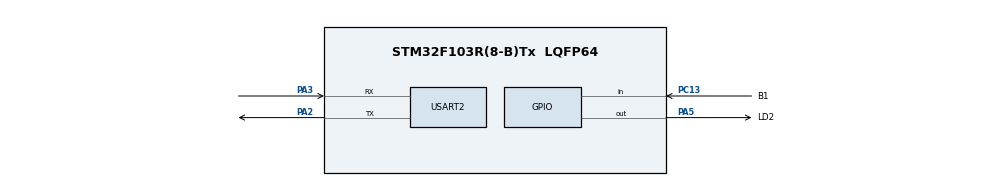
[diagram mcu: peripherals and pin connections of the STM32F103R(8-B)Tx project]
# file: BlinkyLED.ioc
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Mcu.Family=STM32F1
Mcu.Name=STM32F103R(8-B)Tx
Mcu.Package=LQFP64
NVIC.PriorityGroup=NVIC_PRIORITYGROUP_4
PA13.Mode=Trace_Asynchronous_SW
PA13.Signal=SYS_JTMS-SWDIO
PA14.Mode=Trace_Asynchronous_SW
PA14.Signal=SYS_JTCK-SWCLK
PA2.Mode=Asynchronous
PA2.Signal=USART2_TX
PA3.Mode=Asynchronous
PA3.Signal=USART2_RX
PA5.GPIO_Label=LD2
PA5.Signal=GPIO_Output
PB3.Mode=Trace_Asynchronous_SW
PB3.Signal=SYS_JTDO-TRACESWO
PC13-TAMPER-RTC.GPIO_Label=B1
PC13-TAMPER-RTC.Signal=GPIO_Input
PD0-OSC_IN.Mode=HSE-External-Oscillator
PD0-OSC_IN.Signal=RCC_OSC_IN
PD1-OSC_OUT.Mode=HSE-External-Oscillator
PD1-OSC_OUT.Signal=RCC_OSC_OUT
ProjectManager.HeapSize=0x200
ProjectManager.StackSize=0x400
ProjectManager.TargetToolchain=STM32CubeIDE
RCC.APB1Freq_Value=8000000
RCC.APB2Freq_Value=8000000
USART2.VirtualMode=VM_ASYNC
board=custom

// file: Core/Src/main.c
/* USER CODE BEGIN Header */
/**
 ******************************************************************************
 * @file           : main.c
 * @brief          : Main program body
 ******************************************************************************
 * @attention
 *
 * Copyright (c) 2026 STMicroelectronics.
 * All rights reserved.
 *
 * This software is licensed under terms that can be found in the LICENSE file
 * in the root directory of this software component.
 * If no LICENSE file comes with this software, it is provided AS-IS.
 *
 ******************************************************************************
 */
/* USER CODE END Header */
#include "main.h"
#include "usart.h"
#include "gpio.h"

/* USER CODE BEGIN PV */
typedef enum {
    MODE_OFF,
    MODE_BLINK,
    MODE_STEALTH
} LedMode;

volatile LedMode ledMode = MODE_OFF;

uint32_t blinkLastToggle = 0;
GPIO_PinState blinkPinState = GPIO_PIN_RESET;
const uint32_t BLINK_INTERVAL_MS = 500;

GPIO_PinState buttonLastState = GPIO_PIN_SET; // klidový stav = SET (pull-up)
uint32_t buttonPressStart = 0;
uint32_t buttonReleaseTime = 0;
uint8_t longPressFired = 0;
uint8_t waitingForSecondClick = 0;

const uint32_t DEBOUNCE_MS = 50;
const uint32_t LONG_PRESS_MS = 800;
const uint32_t DOUBLE_CLICK_WINDOW_MS = 400;
/* USER CODE END PV */

void SystemClock_Config(void);
/* USER CODE BEGIN PFP */
void ButtonTask(void);
void LedTask(void);
/* USER CODE END PFP */

/* USER CODE BEGIN 0 */
#include <stdio.h>

extern UART_HandleTypeDef huart2;

int __io_putchar(int ch) {
    HAL_UART_Transmit(&huart2, (uint8_t *)&ch, 1, HAL_MAX_DELAY);
    return ch;
}
/* USER CODE END 0 */

int main(void)
{

  /* MCU Configuration--------------------------------------------------------*/

  /* Reset of all peripherals, Initializes the Flash interface and the Systick. */
  HAL_Init();

  /* Configure the system clock */
  SystemClock_Config();

  /* Initialize all configured peripherals */
  MX_GPIO_Init();
  MX_USART2_UART_Init();

  /* Infinite loop */
  /* USER CODE BEGIN WHILE */
	while (1)
	{
		/* HAL_GPIO_WritePin(LD2_GPIO_Port, LD2_Pin, GPIO_PIN_SET);
		// Přepne stav pinu PA5 (pokud svítí, zhasne, a naopak)
		// ZAPNUTI LED:
		HAL_GPIO_WritePin(GPIOA, GPIO_PIN_5, GPIO_PIN_SET);
		//HAL_GPIO_TogglePin(LD2_GPIO_Port, LD2_Pin);
		printf("LED ON\r\n");
		HAL_Delay(1000);

		// Počká 500 milisekund (půl sekundy)
		//HAL_Delay(500);
		// Vypnutí LED
		  HAL_GPIO_WritePin(GPIOA, GPIO_PIN_5, GPIO_PIN_RESET);
		  printf("LED OFF\r\n");
		  HAL_Delay(1000);*/
		  //novy aproach
		  ButtonTask();
		  LedTask();

    /* USER CODE END WHILE */

	}
}

void SystemClock_Config(void)
{
  RCC_OscInitTypeDef RCC_OscInitStruct = {0};
  RCC_ClkInitTypeDef RCC_ClkInitStruct = {0};

  /** Initializes the RCC Oscillators according to the specified parameters
  * in the RCC_OscInitTypeDef structure.
  */
  RCC_OscInitStruct.OscillatorType = RCC_OSCILLATORTYPE_HSI;
  RCC_OscInitStruct.HSIState = RCC_HSI_ON;
  RCC_OscInitStruct.HSICalibrationValue = RCC_HSICALIBRATION_DEFAULT;
  RCC_OscInitStruct.PLL.PLLState = RCC_PLL_NONE;
  if (HAL_RCC_OscConfig(&RCC_OscInitStruct) != HAL_OK)
  {
    Error_Handler();
  }

  /** Initializes the CPU, AHB and APB buses clocks
  */
  RCC_ClkInitStruct.ClockType = RCC_CLOCKTYPE_HCLK|RCC_CLOCKTYPE_SYSCLK
                              |RCC_CLOCKTYPE_PCLK1|RCC_CLOCKTYPE_PCLK2;
  RCC_ClkInitStruct.SYSCLKSource = RCC_SYSCLKSOURCE_HSI;
  RCC_ClkInitStruct.AHBCLKDivider = RCC_SYSCLK_DIV1;
  RCC_ClkInitStruct.APB1CLKDivider = RCC_HCLK_DIV1;
  RCC_ClkInitStruct.APB2CLKDivider = RCC_HCLK_DIV1;

  if (HAL_RCC_ClockConfig(&RCC_ClkInitStruct, FLASH_LATENCY_0) != HAL_OK)
  {
    Error_Handler();
  }
}

/* USER CODE BEGIN 4 */
void ButtonTask(void)
{
    GPIO_PinState raw = HAL_GPIO_ReadPin(B1_GPIO_Port, B1_Pin);
    uint32_t now = HAL_GetTick();

    // stisk (SET -> RESET)
    if (buttonLastState == GPIO_PIN_SET && raw == GPIO_PIN_RESET)
    {
        buttonPressStart = now;
        longPressFired = 0;
    }

    // dlouhý stisk, detekujeme i během držení
    if (raw == GPIO_PIN_RESET && !longPressFired &&
        (now - buttonPressStart) >= LONG_PRESS_MS)
    {
        longPressFired = 1;
        ledMode = MODE_OFF;
        printf("MODE: OFF (long press)\r\n");
    }

    // uvolnění (RESET -> SET)
    if (buttonLastState == GPIO_PIN_RESET && raw == GPIO_PIN_SET)
    {
        uint32_t pressDuration = now - buttonPressStart;

        if (pressDuration >= DEBOUNCE_MS && !longPressFired)
        {
            if (waitingForSecondClick &&
                (now - buttonReleaseTime) <= DOUBLE_CLICK_WINDOW_MS)
            {
                ledMode = MODE_STEALTH;
                printf("MODE: STEALTH (double click)\r\n");
                waitingForSecondClick = 0;
            }
            else
            {
                waitingForSecondClick = 1;
                buttonReleaseTime = now;
            }
        }
    }

    // vypršelo okno na druhý klik -> byl to jen jeden klik
    if (waitingForSecondClick && (now - buttonReleaseTime) > DOUBLE_CLICK_WINDOW_MS)
    {
        waitingForSecondClick = 0;
        ledMode = MODE_BLINK;
        blinkLastToggle = now;
        blinkPinState = GPIO_PIN_SET;
        HAL_GPIO_WritePin(GPIOA, GPIO_PIN_5, GPIO_PIN_SET);
        printf("MODE: BLINK (single click)\r\n");
    }

    buttonLastState = raw;
}

void LedTask(void)
{
    uint32_t now = HAL_GetTick();

    switch (ledMode)
    {
        case MODE_OFF:
            HAL_GPIO_WritePin(GPIOA, GPIO_PIN_5, GPIO_PIN_RESET);
            break;

        case MODE_BLINK:
            if (now - blinkLastToggle >= BLINK_INTERVAL_MS)
            {
                blinkLastToggle = now;
                blinkPinState = (blinkPinState == GPIO_PIN_SET) ? GPIO_PIN_RESET : GPIO_PIN_SET;
                HAL_GPIO_WritePin(GPIOA, GPIO_PIN_5, blinkPinState);
                printf(blinkPinState == GPIO_PIN_SET ? "LED ON\r\n" : "LED OFF\r\n");
            }
            break;

        case MODE_STEALTH:
            HAL_GPIO_WritePin(GPIOA, GPIO_PIN_5, GPIO_PIN_RESET);
            // logika běží potichu dál, jen se nic nevypisuje ani nesvítí
            if (now - blinkLastToggle >= BLINK_INTERVAL_MS)
            {
                blinkLastToggle = now;
                blinkPinState = (blinkPinState == GPIO_PIN_SET) ? GPIO_PIN_RESET : GPIO_PIN_SET;
            }
            break;
    }
}
/* USER CODE END 4 */

void Error_Handler(void)
{
	__disable_irq();
	while (1)
	{
	}
}
